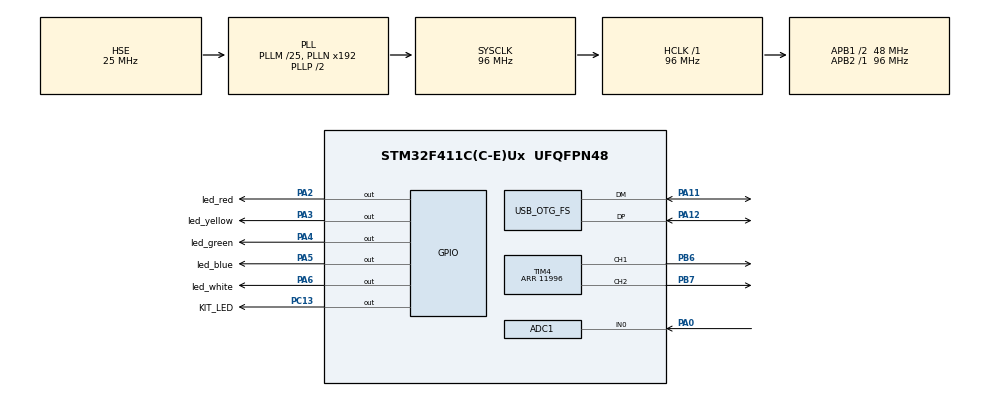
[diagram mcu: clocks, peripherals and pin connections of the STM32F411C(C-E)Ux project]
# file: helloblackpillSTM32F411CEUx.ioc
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ADC1.Channel-1\#ChannelRegularConversion=ADC_CHANNEL_0
ADC1.NbrOfConversionFlag=1
ADC1.Rank-1\#ChannelRegularConversion=1
ADC1.SamplingTime-1\#ChannelRegularConversion=ADC_SAMPLETIME_3CYCLES
ADC1.master=1
Mcu.Family=STM32F4
Mcu.Name=STM32F411C(C-E)Ux
Mcu.Package=UFQFPN48
NVIC.OTG_FS_IRQn=true\:0\:0\:false\:false\:true\:false\:true\:true
NVIC.PriorityGroup=NVIC_PRIORITYGROUP_4
PA0-WKUP.Signal=ADCx_IN0
PA11.Mode=Device_Only
PA11.Signal=USB_OTG_FS_DM
PA12.Mode=Device_Only
PA12.Signal=USB_OTG_FS_DP
PA13.Mode=Serial_Wire
PA13.Signal=SYS_JTMS-SWDIO
PA14.Mode=Serial_Wire
PA14.Signal=SYS_JTCK-SWCLK
PA2.GPIO_Label=led_red
PA2.Signal=GPIO_Output
PA3.GPIO_Label=led_yellow
PA3.Signal=GPIO_Output
PA4.GPIO_Label=led_green
PA4.Signal=GPIO_Output
PA5.GPIO_Label=led_blue
PA5.Signal=GPIO_Output
PA6.GPIO_Label=led_white
PA6.Signal=GPIO_Output
PB6.Signal=S_TIM4_CH1
PB7.Signal=S_TIM4_CH2
PC13-ANTI_TAMP.GPIO_Label=KIT_LED
PC13-ANTI_TAMP.Signal=GPIO_Output
PC14-OSC32_IN.Mode=LSE-External-Oscillator
PC14-OSC32_IN.Signal=RCC_OSC32_IN
PC15-OSC32_OUT.Mode=LSE-External-Oscillator
PC15-OSC32_OUT.Signal=RCC_OSC32_OUT
PH0\ -\ OSC_IN.Mode=HSE-External-Oscillator
PH0\ -\ OSC_IN.Signal=RCC_OSC_IN
PH1\ -\ OSC_OUT.Mode=HSE-External-Oscillator
PH1\ -\ OSC_OUT.Signal=RCC_OSC_OUT
ProjectManager.HeapSize=0x200
ProjectManager.StackSize=0x400
ProjectManager.TargetToolchain=Makefile
RCC.48MHZClocksFreq_Value=48000000
RCC.AHBFreq_Value=96000000
RCC.APB1CLKDivider=RCC_HCLK_DIV2
RCC.APB1Freq_Value=48000000
RCC.APB1TimFreq_Value=96000000
RCC.APB2Freq_Value=96000000
RCC.APB2TimFreq_Value=96000000
RCC.CortexFreq_Value=96000000
RCC.HCLKFreq_Value=96000000
RCC.HSE_VALUE=25000000
RCC.HSI_VALUE=16000000
RCC.PLLM=25
RCC.SYSCLKFreq_VALUE=96000000
RCC.SYSCLKSource=RCC_SYSCLKSOURCE_PLLCLK
RCC.VCOOutputFreq_Value=192000000
SH.ADCx_IN0.0=ADC1_IN0,IN0
SH.S_TIM4_CH1.0=TIM4_CH1,PWM Generation1 CH1
SH.S_TIM4_CH2.0=TIM4_CH2,PWM Generation2 CH2
TIM4.Channel-PWM\ Generation1\ CH1=TIM_CHANNEL_1
TIM4.Channel-PWM\ Generation2\ CH2=TIM_CHANNEL_2
TIM4.Period=11996
TIM4.Pulse-PWM\ Generation1\ CH1=750
TIM4.Pulse-PWM\ Generation2\ CH2=750
USB_DEVICE.CLASS_NAME_FS=CDC
USB_DEVICE.VirtualMode=Cdc
USB_DEVICE.VirtualModeFS=Cdc_FS
USB_OTG_FS.VirtualMode=Device_Only
VP_CRC_VS_CRC.Mode=CRC_Activate
VP_TIM4_VS_ClockSourceINT.Mode=Internal
VP_USB_DEVICE_VS_USB_DEVICE_CDC_FS.Mode=CDC_FS
board=custom

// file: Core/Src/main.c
/* USER CODE BEGIN Header */
/**
  ******************************************************************************
  * @file           : main.c
  * @brief          : Main program body
  ******************************************************************************
  * @attention
  *
  * Copyright (c) 2022 STMicroelectronics.
  * All rights reserved.
  *
  * This software is licensed under terms that can be found in the LICENSE file
  * in the root directory of this software component.
  * If no LICENSE file comes with this software, it is provided AS-IS.
  *
  ******************************************************************************
  */
/* USER CODE END Header */
#include "main.h"
#include "usb_device.h"

/* USER CODE BEGIN Includes */
#include <string.h>
/* USER CODE END Includes */

/* USER CODE BEGIN PD */
#define ADC_BUFFER_LENGTH 255
/* USER CODE END PD */

ADC_HandleTypeDef hadc1;
DMA_HandleTypeDef hdma_adc1;

CRC_HandleTypeDef hcrc;

TIM_HandleTypeDef htim4;

/* USER CODE BEGIN PV */
uint32_t adc_buffer[ADC_BUFFER_LENGTH];
uint8_t gUSBRxBuffer[255];
/* USER CODE END PV */

void SystemClock_Config(void);
static void MX_GPIO_Init(void);
static void MX_ADC1_Init(void);
static void MX_DMA_Init(void);
static void MX_CRC_Init(void);
static void MX_TIM4_Init(void);
/* USER CODE BEGIN PFP */
static void ADC1_Set_Channel(uint32_t channel);
/* USER CODE END PFP */

/* USER CODE BEGIN 0 */
void HAL_ADC_ConvCpltCallback(ADC_HandleTypeDef *hadc) {
    if (hadc->Instance == ADC1) {
        // Data processing can be added here
        char string[255];
        snprintf(string, sizeof(string), "DMA Transfer Complete: First Value = %lu\r\n", adc_buffer[0]);
        CDC_Transmit_FS((uint8_t *)string, strlen(string));
    }
}
/* USER CODE END 0 */

int main(void)
{
  /* USER CODE BEGIN 1 */
  int i = 0;
  char string[255];
  /* USER CODE END 1 */

  /* MCU Configuration--------------------------------------------------------*/

  /* Reset of all peripherals, Initializes the Flash interface and the Systick. */
  HAL_Init();

  /* Configure the system clock */
  SystemClock_Config();

  /* Initialize all configured peripherals */
  MX_GPIO_Init();
  MX_DMA_Init();
  MX_ADC1_Init();
  MX_CRC_Init();
  MX_USB_DEVICE_Init();
  MX_TIM4_Init();
  /* USER CODE BEGIN 2 */
  HAL_TIM_PWM_Start(&htim4, TIM_CHANNEL_1);
  HAL_TIM_PWM_Start(&htim4, TIM_CHANNEL_2);

  HAL_ADC_Start_DMA(&hadc1, adc_buffer, ADC_BUFFER_LENGTH);

  sprintf(string, "ADC with DMA Initialized. Waiting for commands...\r\n");
  CDC_Transmit_FS((uint8_t *)string, strlen(string));
  /* USER CODE END 2 */

  /* Infinite loop */
  /* USER CODE BEGIN WHILE */
  while (1)
  {
    if (gUSBRxBuffer[0] != 0) {
      switch (gUSBRxBuffer[0]) {
        case 'r': // Reset DMA buffer
          memset(adc_buffer, 0, sizeof(adc_buffer));
          sprintf(string, "ADC DMA buffer reset.\r\n");
          CDC_Transmit_FS((uint8_t *)string, strlen(string));
          break;

        default:
          sprintf(string, "Unknown command: %c\r\n", gUSBRxBuffer[0]);
          CDC_Transmit_FS((uint8_t *)string, strlen(string));
          break;
      }
      memset(gUSBRxBuffer, 0, sizeof(gUSBRxBuffer));
    }
  }
  /* USER CODE END WHILE */

}

void SystemClock_Config(void)
{
  RCC_OscInitTypeDef RCC_OscInitStruct = {0};
  RCC_ClkInitTypeDef RCC_ClkInitStruct = {0};

  /** Configure the main internal regulator output voltage
  */
  __HAL_RCC_PWR_CLK_ENABLE();
  __HAL_PWR_VOLTAGESCALING_CONFIG(PWR_REGULATOR_VOLTAGE_SCALE1);

  /** Initializes the RCC Oscillators according to the specified parameters
  * in the RCC_OscInitTypeDef structure.
  */
  RCC_OscInitStruct.OscillatorType = RCC_OSCILLATORTYPE_HSE;
  RCC_OscInitStruct.HSEState = RCC_HSE_ON;
  RCC_OscInitStruct.PLL.PLLState = RCC_PLL_ON;
  RCC_OscInitStruct.PLL.PLLSource = RCC_PLLSOURCE_HSE;
  RCC_OscInitStruct.PLLM = 25;
  RCC_OscInitStruct.PLLN = 192;
  RCC_OscInitStruct.PLLP = RCC_PLLP_DIV2;
  RCC_OscInitStruct.PLLQ = 4;
  if (HAL_RCC_OscConfig(&RCC_OscInitStruct) != HAL_OK)
  {
    Error_Handler();
  }

  /** Initializes the CPU, AHB and APB buses clocks
  */
  RCC_ClkInitStruct.ClockType = RCC_CLOCKTYPE_HCLK|RCC_CLOCKTYPE_SYSCLK
                              |RCC_CLOCKTYPE_PCLK1|RCC_CLOCKTYPE_PCLK2;
  RCC_ClkInitStruct.SYSCLKSource = RCC_SYSCLKSOURCE_PLLCLK;
  RCC_ClkInitStruct.AHBCLKDivider = RCC_SYSCLK_DIV1;
  RCC_ClkInitStruct.APB1CLKDivider = RCC_HCLK_DIV2;
  RCC_ClkInitStruct.APB2CLKDivider = RCC_HCLK_DIV1;

  if (HAL_RCC_ClockConfig(&RCC_ClkInitStruct, FLASH_LATENCY_3) != HAL_OK)
  {
    Error_Handler();
  }
}

static void MX_ADC1_Init(void)
{
  ADC_ChannelConfTypeDef sConfig = {0};

  /** Configure the global features of the ADC (Clock, Resolution, Data Alignment and number of conversion)
  */
  hadc1.Instance = ADC1;
  hadc1.Init.ClockPrescaler = ADC_CLOCK_SYNC_PCLK_DIV4;
  hadc1.Init.Resolution = ADC_RESOLUTION_12B;
  hadc1.Init.ScanConvMode = DISABLE;
  hadc1.Init.ContinuousConvMode = DISABLE;
  hadc1.Init.DiscontinuousConvMode = DISABLE;
  hadc1.Init.ExternalTrigConvEdge = ADC_EXTERNALTRIGCONVEDGE_NONE;
  hadc1.Init.ExternalTrigConv = ADC_SOFTWARE_START;
  hadc1.Init.DataAlign = ADC_DATAALIGN_RIGHT;
  hadc1.Init.NbrOfConversion = 1;
  hadc1.Init.DMAContinuousRequests = ENABLE;
  hadc1.Init.EOCSelection = ADC_EOC_SINGLE_CONV;
  if (HAL_ADC_Init(&hadc1) != HAL_OK)
  {
    Error_Handler();
  }

  /** Configure for the selected ADC regular channel its corresponding rank in the sequencer and its sample time.
  */
  sConfig.Channel = ADC_CHANNEL_0;
  sConfig.Rank = 1;
  sConfig.SamplingTime = ADC_SAMPLETIME_3CYCLES;
  if (HAL_ADC_ConfigChannel(&hadc1, &sConfig) != HAL_OK)
  {
    Error_Handler();
  }
}

static void MX_DMA_Init(void)
{
  /* DMA controller clock enable */
  __HAL_RCC_DMA2_CLK_ENABLE();

  /* DMA interrupt init */
  /* DMA2_Stream0_IRQn interrupt configuration */
  HAL_NVIC_SetPriority(DMA2_Stream0_IRQn, 0, 0);
  HAL_NVIC_EnableIRQ(DMA2_Stream0_IRQn);
}

static void MX_GPIO_Init(void)
{
  GPIO_InitTypeDef GPIO_InitStruct = {0};

  /* GPIO Ports Clock Enable */
  __HAL_RCC_GPIOC_CLK_ENABLE();
  __HAL_RCC_GPIOH_CLK_ENABLE();
  __HAL_RCC_GPIOA_CLK_ENABLE();
  __HAL_RCC_GPIOB_CLK_ENABLE();

  /*Configure GPIO pin Output Level */
  HAL_GPIO_WritePin(GPIOA, GPIO_PIN_5, GPIO_PIN_RESET);

  /*Configure GPIO pin : PA5 */
  GPIO_InitStruct.Pin = GPIO_PIN_5;
  GPIO_InitStruct.Mode = GPIO_MODE_OUTPUT_PP;
  GPIO_InitStruct.Pull = GPIO_NOPULL;
  GPIO_InitStruct.Speed = GPIO_SPEED_FREQ_LOW;
  HAL_GPIO_Init(GPIOA, &GPIO_InitStruct);
}
